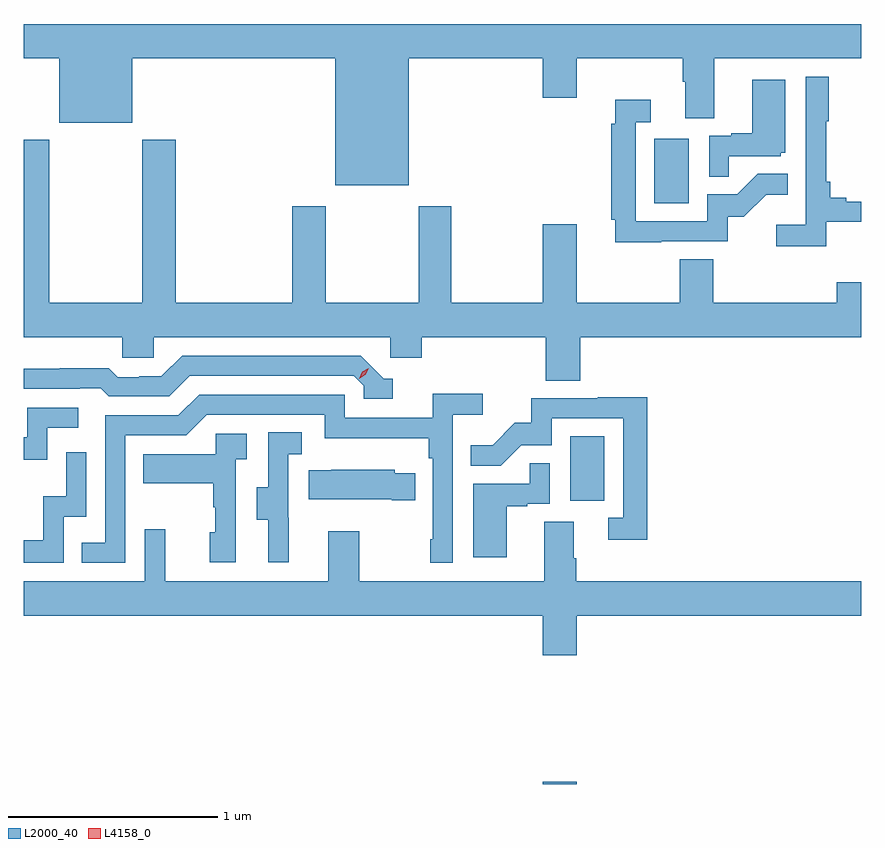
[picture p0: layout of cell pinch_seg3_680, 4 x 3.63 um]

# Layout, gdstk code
import gdstk
lib = gdstk.Library(unit=1e-6, precision=1e-09)
def R(c, l, rs):  # rectangles x0, y0, x1, y1
    for r in rs: c.add(gdstk.rectangle(r[:2], r[2:], *l))
def P(c, l, *ps):  # polygons
    for p in ps: c.add(gdstk.Polygon(p, *l))
L2000_40 = (2000, 40)
L4158_0 = (4158, 0)

pinch_seg3_680 = lib.new_cell('pinch_seg3_680')
R(pinch_seg3_680, L2000_40, [(1124.048,666.812,1124.212,666.823), (1124.18,668.166,1124.344,668.473), (1124.582,669.588,1124.746,669.895)])
P(pinch_seg3_680, L2000_40, [(1123.408,670.28),(1124.048,670.28),(1124.048,670.092),(1124.212,670.092),(1124.212,670.28),(1124.717,670.28),(1124.717,670.168),(1124.729,670.168),(1124.729,669.994),(1124.869,669.994),(1124.869,670.28),(1125.57,670.28),(1125.57,670.444),(1121.57,670.444),(1121.57,670.28),(1121.738,670.28),(1121.738,669.971),(1122.088,669.971),(1122.088,670.28),(1123.058,670.28),(1123.058,669.674),(1123.408,669.674)],
  [(1125.404,669.498),(1125.57,669.498),(1125.57,669.595),(1125.499,669.595),(1125.499,669.614),(1125.422,669.614),(1125.422,669.691),(1125.403,669.691),(1125.403,669.979),(1125.415,669.979),(1125.415,670.192),(1125.306,670.192),(1125.306,669.484),(1125.165,669.484),(1125.165,669.382),(1125.404,669.382)],
  [(1124.939,669.813),(1125.186,669.813),(1125.186,669.828),(1125.208,669.828),(1125.208,670.177),(1125.05,670.177),(1125.05,669.922),(1124.951,669.922),(1124.951,669.909),(1124.844,669.909),(1124.844,669.715),(1124.939,669.715)],
  [(1124.615,669.405),(1124.934,669.405),(1124.934,669.522),(1125.01,669.522),(1125.117,669.629),(1125.221,669.629),(1125.221,669.728),(1125.077,669.728),(1124.979,669.63),(1124.835,669.63),(1124.835,669.501),(1124.493,669.501),(1124.493,669.975),(1124.566,669.975),(1124.566,670.081),(1124.396,670.081),(1124.396,669.968),(1124.377,669.968),(1124.377,669.508),(1124.396,669.508),(1124.396,669.4),(1124.615,669.4)],
  [(1124.228,668.948),(1125.57,668.948),(1125.57,669.21),(1125.455,669.21),(1125.455,669.112),(1124.864,669.112),(1124.864,669.32),(1124.704,669.32),(1124.704,669.112),(1124.212,669.112),(1124.212,669.487),(1124.048,669.487),(1124.048,669.112),(1123.611,669.112),(1123.611,669.574),(1123.456,669.574),(1123.456,669.112),(1123.011,669.112),(1123.011,669.574),(1122.851,669.574),(1122.851,669.112),(1122.296,669.112),(1122.296,669.892),(1122.136,669.892),(1122.136,669.112),(1121.691,669.112),(1121.691,669.892),(1121.57,669.892),(1121.57,668.948),(1122.039,668.948),(1122.039,668.85),(1122.189,668.85),(1122.189,668.948),(1123.32,668.948),(1123.32,668.85),(1123.472,668.85),(1123.472,668.948),(1124.063,668.948),(1124.063,668.74),(1124.228,668.74)],
  [(1123.333,668.748),(1123.29,668.748),(1123.179,668.859),(1122.326,668.859),(1122.227,668.76),(1122.12,668.76),(1122.12,668.757),(1122.017,668.757),(1121.975,668.8),(1121.742,668.8),(1121.742,668.797),(1121.57,668.797),(1121.57,668.7),(1121.837,668.7),(1121.837,668.703),(1121.936,668.703),(1121.975,668.664),(1122.264,668.664),(1122.363,668.763),(1123.146,668.763),(1123.194,668.715),(1123.194,668.652),(1123.333,668.652)],
  [(1122.054,668.478),(1122.345,668.478),(1122.444,668.577),(1123.008,668.577),(1123.008,668.465),(1123.504,668.465),(1123.504,668.369),(1123.524,668.369),(1123.524,667.981),(1123.512,667.981),(1123.512,667.869),(1123.62,667.869),(1123.62,668.576),(1123.762,668.576),(1123.762,668.678),(1123.523,668.678),(1123.523,668.562),(1123.104,668.562),(1123.104,668.673),(1122.407,668.673),(1122.308,668.574),(1121.958,668.574),(1121.958,667.965),(1121.845,667.965),(1121.845,667.869),(1122.054,667.869)],
  [(1124.549,668.66),(1124.311,668.66),(1124.311,668.655),(1123.993,668.655),(1123.993,668.538),(1123.916,668.538),(1123.809,668.431),(1123.705,668.431),(1123.705,668.332),(1123.849,668.332),(1123.947,668.43),(1124.091,668.43),(1124.091,668.559),(1124.433,668.559),(1124.433,668.085),(1124.361,668.085),(1124.361,667.98),(1124.549,667.98)],
  [(1121.682,668.514),(1121.83,668.514),(1121.83,668.61),(1121.586,668.61),(1121.586,668.469),(1121.57,668.469),(1121.57,668.361),(1121.682,668.361)],
  [(1122.836,668.085),(1122.834,668.085),(1122.834,668.389),(1122.898,668.389),(1122.898,668.492),(1122.738,668.492),(1122.738,668.229),(1122.683,668.229),(1122.683,668.074),(1122.737,668.074),(1122.737,667.872),(1122.836,667.872)],
  [(1122.582,668.363),(1122.634,668.363),(1122.634,668.487),(1122.486,668.487),(1122.486,668.389),(1122.139,668.389),(1122.139,668.249),(1122.474,668.249),(1122.474,668.135),(1122.484,668.135),(1122.484,668.016),(1122.458,668.016),(1122.458,667.872),(1122.582,667.872)],
  [(1121.76,668.088),(1121.868,668.088),(1121.868,668.398),(1121.772,668.398),(1121.772,668.186),(1121.663,668.186),(1121.663,667.978),(1121.57,667.978),(1121.57,667.869),(1121.76,667.869)],
  [(1123.876,668.139),(1123.976,668.139),(1123.976,668.151),(1124.082,668.151),(1124.082,668.345),(1123.987,668.345),(1123.987,668.247),(1123.718,668.247),(1123.718,667.896),(1123.876,667.896)],
  [(1123.439,668.296),(1123.341,668.296),(1123.341,668.314),(1123.039,668.314),(1123.039,668.311),(1122.931,668.311),(1122.931,668.174),(1123.328,668.174),(1123.328,668.167),(1123.439,668.167)],
  [(1124.212,667.616),(1125.57,667.616),(1125.57,667.78),(1124.21,667.78),(1124.21,667.892),(1124.197,667.892),(1124.197,668.066),(1124.057,668.066),(1124.057,667.78),(1123.173,667.78),(1123.173,668.02),(1123.025,668.02),(1123.025,667.78),(1122.245,667.78),(1122.245,668.029),(1122.147,668.029),(1122.147,667.78),(1121.57,667.78),(1121.57,667.616),(1124.048,667.616),(1124.048,667.428),(1124.212,667.428)])
P(pinch_seg3_680, L4158_0, [(1123.171,668.748),(1123.171,668.748),(1123.187,668.781),(1123.218,668.8),(1123.218,668.8),(1123.218,668.8),(1123.202,668.767),(1123.171,668.748)])

lib.write_gds('pinch_seg3_680.gds')
